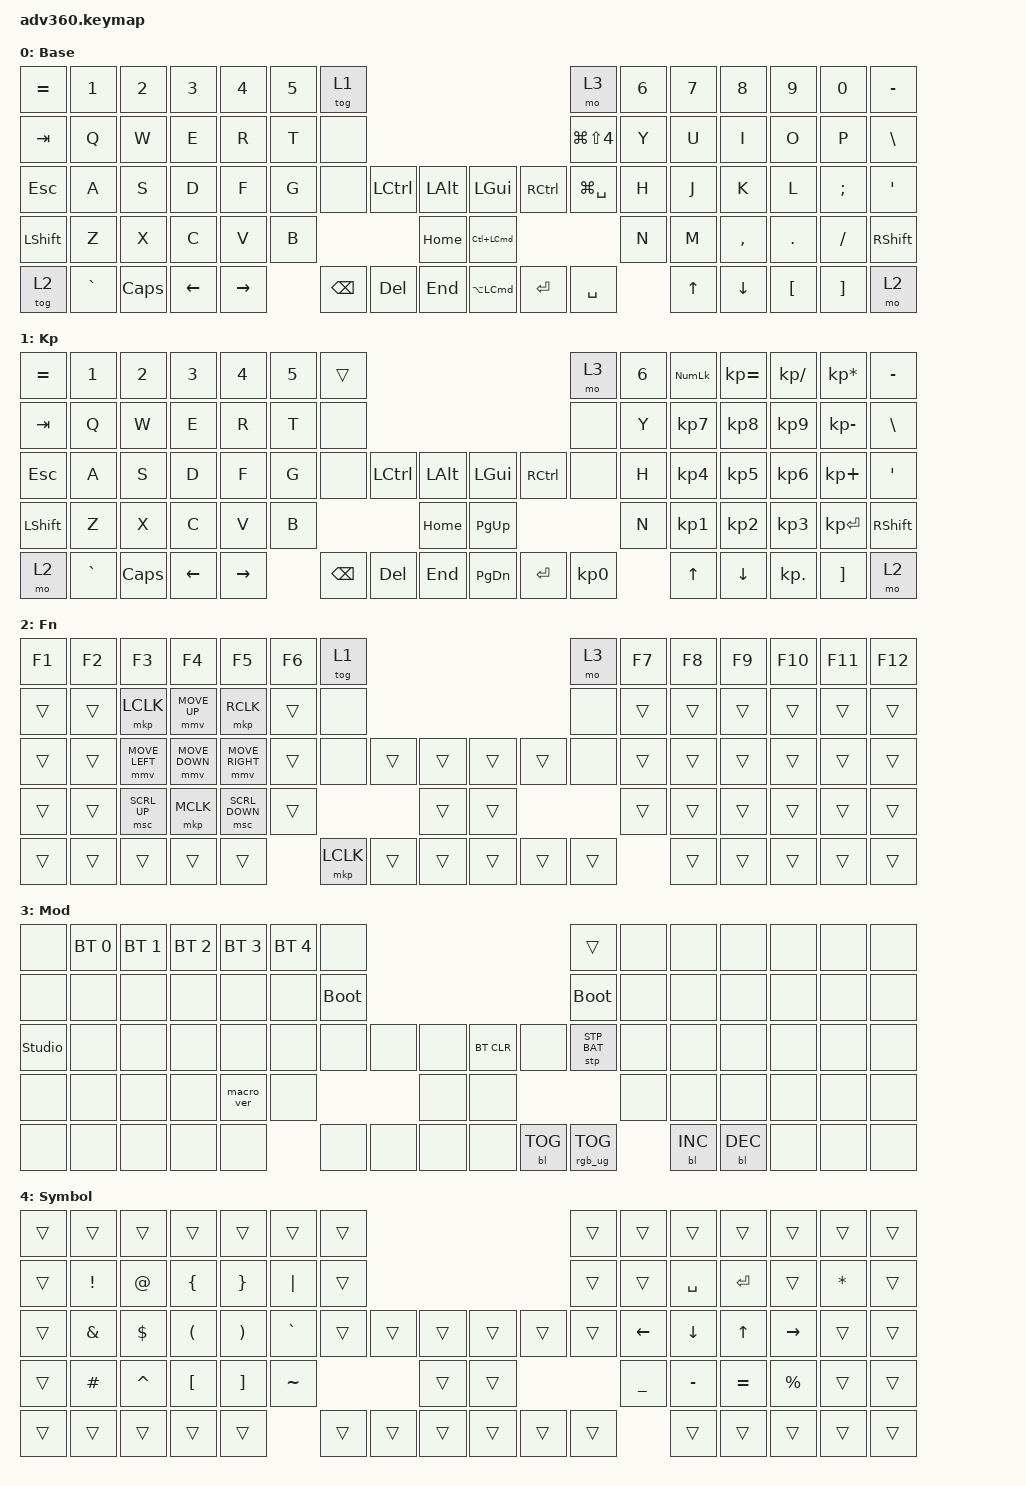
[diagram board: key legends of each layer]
#include <dt-bindings/zmk/stp.h>
#include <behaviors.dtsi>
#include <dt-bindings/zmk/backlight.h>
#include <dt-bindings/zmk/bt.h>
#include <dt-bindings/zmk/keys.h>
#include <dt-bindings/zmk/pointing.h>
#include <dt-bindings/zmk/rgb.h>

/ {
    behaviors {
        #include "macros.dtsi"
      #include "version.dtsi"

        hm: homerow_mods {
            compatible = "zmk,behavior-hold-tap";
            label = "HOMEROW_MODS";
            #binding-cells = <2>;
            tapping-term-ms = <200>;
            quick_tap_ms = <175>;
            flavor = "tap-preferred";
            bindings = <&kp>, <&kp>;
        };
    };

    combos {
        compatible = "zmk,combos";

        fn_jump {
            bindings = <&tog 4>;
            key-positions = <65 70>;
        };

        close_tab {
            bindings = <&kp LG(W)>;
            key-positions = <42 43>;
            timeout-ms = <30>;
        };

        save {
            bindings = <&kp LG(S)>;
            key-positions = <31 32>;
            timeout-ms = <30>;
        };
    };

    keymap {
        compatible = "zmk,keymap";

        default_layer {
            display-name = "Base";
            bindings = <
&kp EQUAL  &kp N1     &kp N2    &kp N3    &kp N4     &kp N5  &tog 1                                                              &mo 3                 &kp N6  &kp N7  &kp N8     &kp N9    &kp N0    &kp MINUS
&kp TAB    &kp Q      &kp W     &kp E     &kp R      &kp T   &none                                                               &kp LG(LS(NUMBER_4))  &kp Y   &kp U   &kp I      &kp O     &kp P     &kp BSLH
&kp ESC    &kp A      &kp S     &kp D     &kp F      &kp G   &none     &kp LCTRL  &kp LALT      &kp LGUI              &kp RCTRL  &kp LG(SPACE)         &kp H   &kp J   &kp K      &kp L     &kp SEMI  &kp SQT
&kp LSHFT  &kp Z      &kp X     &kp C     &kp V      &kp B                        &kp HOME      &kp LC(LEFT_COMMAND)                                   &kp N   &kp M   &kp COMMA  &kp DOT   &kp FSLH  &kp RSHFT
&tog 2     &kp GRAVE  &kp CAPS  &kp LEFT  &kp RIGHT          &kp BSPC  &kp DEL    &kp END       &kp LA(LEFT_COMMAND)  &kp ENTER  &kp SPACE                     &kp UP  &kp DOWN   &kp LBKT  &kp RBKT  &mo 2
            >;
        };

        keypad {
            display-name = "Kp";
            bindings = <
&kp EQUAL  &kp N1     &kp N2    &kp N3    &kp N4     &kp N5  &trans                                                   &mo 3      &kp N6  &kp KP_NUM  &kp KP_EQUAL  &kp KP_DIVIDE  &kp KP_MULTIPLY  &kp MINUS
&kp TAB    &kp Q      &kp W     &kp E     &kp R      &kp T   &none                                                    &none      &kp Y   &kp KP_N7   &kp KP_N8     &kp KP_N9      &kp KP_MINUS     &kp BSLH
&kp ESC    &kp A      &kp S     &kp D     &kp F      &kp G   &none     &kp LCTRL  &kp LALT      &kp LGUI   &kp RCTRL  &none      &kp H   &kp KP_N4   &kp KP_N5     &kp KP_N6      &kp KP_PLUS      &kp SQT
&kp LSHFT  &kp Z      &kp X     &kp C     &kp V      &kp B                        &kp HOME      &kp PG_UP                        &kp N   &kp KP_N1   &kp KP_N2     &kp KP_N3      &kp KP_ENTER     &kp RSHFT
&mo 2      &kp GRAVE  &kp CAPS  &kp LEFT  &kp RIGHT          &kp BSPC  &kp DEL    &kp END       &kp PG_DN  &kp ENTER  &kp KP_N0          &kp UP      &kp DOWN      &kp KP_DOT     &kp RBKT         &mo 2
            >;
        };

        fn {
            display-name = "Fn";
            bindings = <
&kp F1  &kp F2  &kp F3          &kp F4          &kp F5           &kp F6  &tog 1                                         &mo 3   &kp F7  &kp F8  &kp F9  &kp F10  &kp F11  &kp F12
&trans  &trans  &mkp LCLK       &mmv MOVE_UP    &mkp RCLK        &trans  &none                                          &none   &trans  &trans  &trans  &trans   &trans   &trans
&trans  &trans  &mmv MOVE_LEFT  &mmv MOVE_DOWN  &mmv MOVE_RIGHT  &trans  &none      &trans  &trans      &trans  &trans  &none   &trans  &trans  &trans  &trans   &trans   &trans
&trans  &trans  &msc SCRL_UP    &mkp MCLK       &msc SCRL_DOWN   &trans                     &trans      &trans                  &trans  &trans  &trans  &trans   &trans   &trans
&trans  &trans  &trans          &trans          &trans                   &mkp LCLK  &trans  &trans      &trans  &trans  &trans          &trans  &trans  &trans   &trans   &trans
            >;
        };

        mod {
            display-name = "Mod";
            bindings = <
&none           &bt BT_SEL 0  &bt BT_SEL 1  &bt BT_SEL 2  &bt BT_SEL 3  &bt BT_SEL 4  &none                                                  &trans           &none  &none       &none       &none  &none  &none
&none           &none         &none         &none         &none         &none         &bootloader                                            &bootloader      &none  &none       &none       &none  &none  &none
&studio_unlock  &none         &none         &none         &none         &none         &none        &none  &none      &bt BT_CLR  &none       &stp STP_BAT     &none  &none       &none       &none  &none  &none
&none           &none         &none         &none         &macro_ver    &none                             &none      &none                                    &none  &none       &none       &none  &none  &none
&none           &none         &none         &none         &none                       &none        &none  &none      &none       &bl BL_TOG  &rgb_ug RGB_TOG         &bl BL_INC  &bl BL_DEC  &none  &none  &none
            >;
        };

        Symbol {
            bindings = <
&trans  &trans    &trans      &trans                &trans                 &trans     &trans                                      &trans  &trans          &trans          &trans        &trans       &trans    &trans
&trans  &kp EXCL  &kp AT      &kp LEFT_BRACE        &kp RIGHT_BRACE        &kp PIPE   &trans                                      &trans  &trans          &kp SPACE       &kp ENTER     &trans       &kp STAR  &trans
&trans  &kp AMPS  &kp DOLLAR  &kp LEFT_PARENTHESIS  &kp RIGHT_PARENTHESIS  &kp GRAVE  &trans  &trans  &trans      &trans  &trans  &trans  &kp LEFT        &kp DOWN_ARROW  &kp UP_ARROW  &kp RIGHT    &trans    &trans
&trans  &kp HASH  &kp CARET   &kp LEFT_BRACKET      &kp RIGHT_BRACKET      &kp TILDE                  &trans      &trans                  &kp UNDERSCORE  &kp MINUS       &kp EQUAL     &kp PERCENT  &trans    &trans
&trans  &trans    &trans      &trans                &trans                            &trans  &trans  &trans      &trans  &trans  &trans                  &trans          &trans        &trans       &trans    &trans
            >;
        };
    };
};
